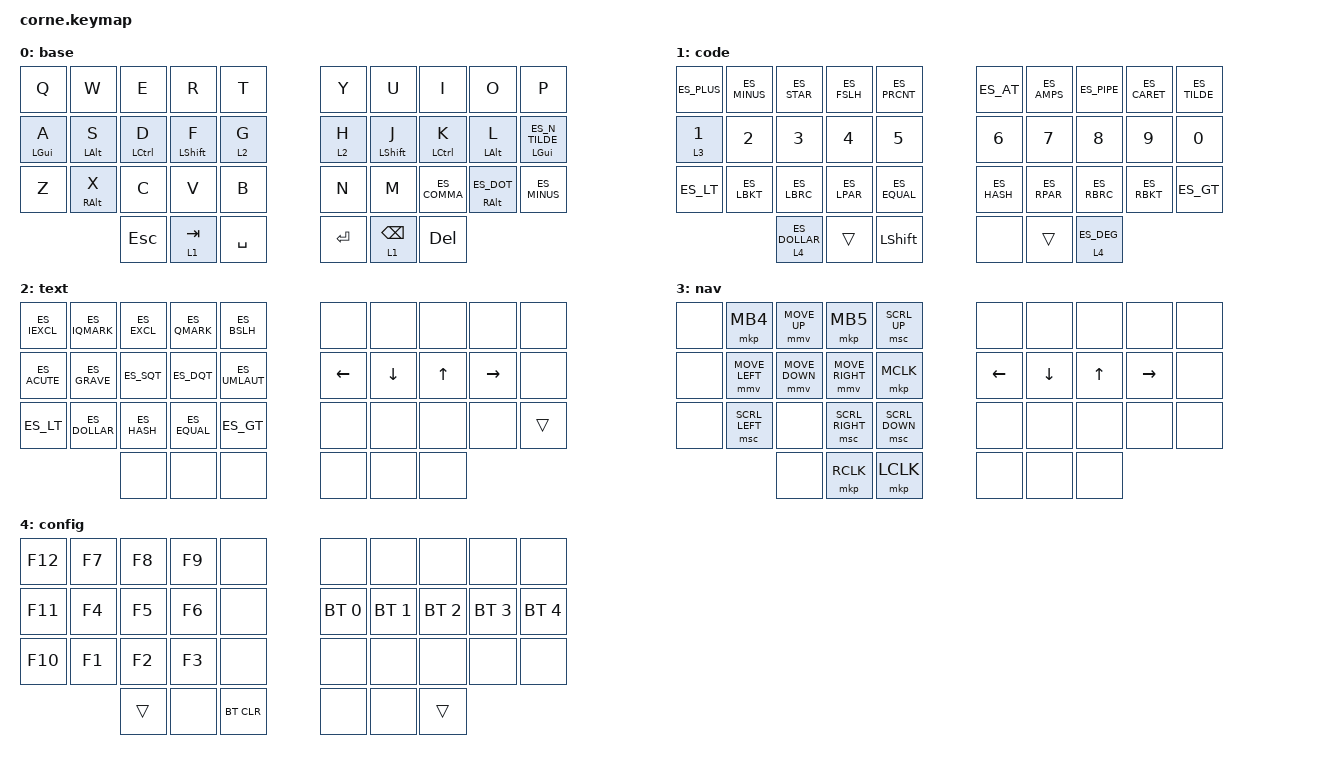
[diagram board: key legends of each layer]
/*
 * Copyright (c) 2020 The ZMK Contributors
 *
 * SPDX-License-Identifier: MIT
 */

#include <behaviors.dtsi>
#include <dt-bindings/zmk/bt.h>
#include <dt-bindings/zmk/keys.h>
#include <dt-bindings/zmk/pointing.h>

#include "keys_es_latin_america.h"

&lt {
  flavor = "balanced";
  quick-tap-ms = <200>;
  tapping-term-ms = <200>;
};

/ {
  chosen {
    zmk,physical-layout = &foostan_corne_5col_layout;
  };
};

/ {
  behaviors {
    hm: homerow_mods {
      compatible = "zmk,behavior-hold-tap";
      #binding-cells = <2>;
      quick-tap-ms = <200>;
      tapping-term-ms = <200>;
      flavor = "balanced";
      bindings = <&kp>, <&kp>;
    };
  };

  keymap {
    compatible = "zmk,keymap";

    default { // 0
      label = "base";
      bindings = <
        &kp Q      &kp W      &kp E      &kp R       &kp T       &kp Y     &kp U       &kp I        &kp O           &kp P
        &hm LGUI A &hm LALT S &hm LCTL D &hm LSHFT F &lt 2 G     &lt 2 H   &hm LSHFT J &hm LCTL K   &hm LALT L      &hm LGUI ES_N_TILDE
        &kp Z      &hm RALT X &kp C      &kp V       &kp B       &kp N     &kp M       &kp ES_COMMA &hm RALT ES_DOT &kp ES_MINUS
                              &kp ESC    &lt 1 TAB   &kp SPACE   &kp RET   &lt 1 BSPC  &kp DEL
      >;
    };

    code { // 1
      label = "code";
      bindings = <
        &kp ES_PLUS &kp ES_MINUS &kp ES_STAR     &kp ES_FSLH &kp ES_PRCNT   &kp ES_AT   &kp ES_AMPS &kp ES_PIPE &kp ES_CARET &kp ES_TILDE
        &lt 3 N1    &kp N2       &kp N3          &kp N4      &kp N5         &kp N6      &kp N7      &kp N8      &kp N9       &kp N0
        &kp ES_LT   &kp ES_LBKT  &kp ES_LBRC     &kp ES_LPAR &kp ES_EQUAL   &kp ES_HASH &kp ES_RPAR &kp ES_RBRC &kp ES_RBKT  &kp ES_GT
                                 &lt 4 ES_DOLLAR &trans      &kp LSHFT      &none       &trans      &lt 4 ES_DEG
      >;
    };

    text { // 2
      label = "text";
      bindings = <
        &kp ES_IEXCL &kp ES_IQMARK &kp ES_EXCL &kp ES_QMARK &kp ES_BSLH     &none    &none    &none  &none     &none
        &kp ES_ACUTE &kp ES_GRAVE  &kp ES_SQT  &kp ES_DQT   &kp ES_UMLAUT   &kp LEFT &kp DOWN &kp UP &kp RIGHT &none
        &kp ES_LT    &kp ES_DOLLAR &kp ES_HASH &kp ES_EQUAL &kp ES_GT       &none    &none    &none  &none     &trans
                                   &none       &none        &none           &none    &none    &none
      >;
    };

    navigation { // 3
      label = "nav";
      bindings = <
        &none  &mkp MB4       &mmv MOVE_UP   &mkp MB5        &msc SCRL_UP     &none    &none    &none  &none     &none
        &none  &mmv MOVE_LEFT &mmv MOVE_DOWN &mmv MOVE_RIGHT &mkp MCLK        &kp LEFT &kp DOWN &kp UP &kp RIGHT &none
        &none  &msc SCRL_LEFT &none          &msc SCRL_RIGHT &msc SCRL_DOWN   &none    &none    &none  &none     &none
                              &none          &mkp RCLK       &mkp LCLK        &none    &none    &none
      >;
    };

    config { // 4
      label = "config";
      bindings = <
        &kp F12 &kp F7 &kp F8 &kp F9 &none        &none        &none        &none        &none        &none
        &kp F11 &kp F4 &kp F5 &kp F6 &none        &bt BT_SEL 0 &bt BT_SEL 1 &bt BT_SEL 2 &bt BT_SEL 3 &bt BT_SEL 4
        &kp F10 &kp F1 &kp F2 &kp F3 &none        &none        &none        &none        &none        &none
                       &trans &none  &bt BT_CLR   &none        &none        &trans
      >;
    };
  };
};

    /* template { */
    /*   bindings = < */
    /*     &none &none &none &none &none             &none &none &none &none &none */
    /*     &none &none &none &none &none             &none &none &none &none &none */
    /*     &none &none &none &none &none             &none &none &none &none &none */
    /*                       &none &none &none &none &none &none */
    /*   >; */
    /* }; */
